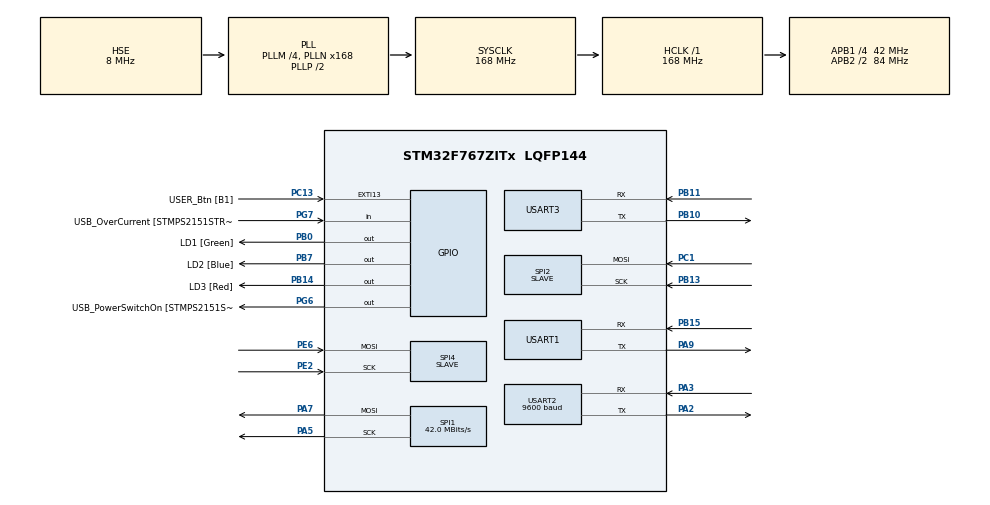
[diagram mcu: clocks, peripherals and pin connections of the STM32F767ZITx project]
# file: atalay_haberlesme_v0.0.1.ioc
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Mcu.Family=STM32F7
RCC.CortexFreq_Value=168000000
SPI4.VirtualType=VM_SLAVE
PG6.Signal=GPIO_Output
SPI1.VirtualType=VM_MASTER
SPI2.VirtualType=VM_SLAVE
PB10.Mode=Asynchronous
PB14.GPIO_Label=LD3 [Red]
PG6.GPIO_Label=USB_PowerSwitchOn [STMPS2151STR_EN]
PA14.GPIO_Label=TCK
RCC.SYSCLKSourceVirtual=RCC_SYSCLKSOURCE_PLLCLK
SPI4.Direction=SPI_DIRECTION_2LINES_RXONLY
Dma.SPI4_RX.3.PeriphDataAlignment=DMA_PDATAALIGN_BYTE
PC14/OSC32_IN.Mode=LSE-External-Oscillator
PB0.GPIO_Label=LD1 [Green]
PC13.GPIO_Label=USER_Btn [B1]
PB11.Signal=USART3_RX
PB13.Signal=SPI2_SCK
PB15.Signal=USART1_RX
Dma.USART2_RX.1.MemDataAlignment=DMA_MDATAALIGN_BYTE
RCC.SYSCLKSource=RCC_SYSCLKSOURCE_PLLCLK
ProjectManager.StackSize=0x400
USART3.VirtualMode-Asynchronous=VM_ASYNC
NVIC.SPI4_IRQn=true\:0\:0\:false\:false\:true\:true\:true
SPI4.Mode=SPI_MODE_SLAVE
Dma.SPI2_RX.2.Direction=DMA_PERIPH_TO_MEMORY
SPI1.Direction=SPI_DIRECTION_2LINES
PH0/OSC_IN.Mode=HSE-External-Clock-Source
RCC.HCLKFreq_Value=168000000
PE2.Mode=RX_Only_Simplex_Unidirect_Slave
RCC.APB2TimFreq_Value=168000000
PH1/OSC_OUT.Signal=RCC_OSC_OUT
Dma.USART2_RX.1.PeriphInc=DMA_PINC_DISABLE
SPI1.CalculateBaudRate=42.0 MBits/s
NVIC.DMA2_Stream0_IRQn=true\:0\:0\:false\:false\:true\:false\:true
Dma.USART2_RX.1.MemInc=DMA_MINC_ENABLE
RCC.AHBFreq_Value=168000000
Dma.USART1_RX.0.Priority=DMA_PRIORITY_LOW
Dma.SPI2_RX.2.Instance=DMA1_Stream1
Dma.SPI2_RX.2.MemDataAlignment=DMA_MDATAALIGN_BYTE
RCC.HSE_VALUE=8000000
USART2.VirtualMode-Asynchronous=VM_ASYNC
Dma.SPI2_RX.2.PeriphInc=DMA_PINC_DISABLE
RCC.PLLMUL=RCC_PLL_MUL9
PA14.Mode=Serial_Wire
PE2.Signal=SPI4_SCK
PB7.Signal=GPIO_Output
Dma.SPI2_RX.2.PeriphDataAlignment=DMA_PDATAALIGN_BYTE
NVIC.SPI2_IRQn=true\:0\:0\:false\:false\:true\:true\:true
Dma.USART1_RX.0.MemInc=DMA_MINC_ENABLE
PH1/OSC_OUT.Mode=HSE-External-Clock-Source
PB7.GPIO_Label=LD2 [Blue]
Mcu.Package=LQFP144
SPI2.Mode=SPI_MODE_SLAVE
Dma.SPI2_RX.2.Priority=DMA_PRIORITY_LOW
PC14/OSC32_IN.Signal=RCC_OSC32_IN
Dma.SPI2_RX.2.MemInc=DMA_MINC_ENABLE
Dma.SPI4_RX.3.Direction=DMA_PERIPH_TO_MEMORY
Dma.USART1_RX.0.FIFOMode=DMA_FIFOMODE_DISABLE
RCC.APB2CLKDivider=RCC_HCLK_DIV2
NVIC.DMA2_Stream2_IRQn=true\:0\:0\:false\:false\:true\:false\:true
Dma.Request2=SPI2_RX
Dma.Request1=USART2_RX
RCC.APB1TimFreq_Value=84000000
Dma.Request3=SPI4_RX
Dma.USART1_RX.0.Mode=DMA_CIRCULAR
SPI2.Direction=SPI_DIRECTION_2LINES_RXONLY
PB13.Mode=RX_Only_Simplex_Unidirect_Slave
NVIC.USART1_IRQn=true\:0\:0\:false\:false\:true\:true\:true
Dma.USART2_RX.1.Mode=DMA_NORMAL
Dma.Request0=USART1_RX
Dma.USART1_RX.0.Instance=DMA2_Stream2
PA3.Signal=USART2_RX
PA5.Mode=TX_Only_Simplex_Unidirect_Master
PB3.GPIO_Label=SWO
RCC.PLLSourceVirtual=RCC_PLLSOURCE_HSE
Dma.USART2_RX.1.Priority=DMA_PRIORITY_LOW
Dma.USART2_RX.1.FIFOMode=DMA_FIFOMODE_DISABLE
PA7.Mode=TX_Only_Simplex_Unidirect_Master
PG7.Signal=GPIO_Input
Dma.USART1_RX.0.PeriphDataAlignment=DMA_PDATAALIGN_BYTE
PC13.Signal=GPXTI13
Dma.SPI4_RX.3.Priority=DMA_PRIORITY_LOW
NVIC.DMA1_Stream1_IRQn=true\:0\:0\:false\:false\:true\:false\:true
RCC.APB1CLKDivider=RCC_HCLK_DIV4
Dma.SPI4_RX.3.FIFOMode=DMA_FIFOMODE_DISABLE
NVIC.USART2_IRQn=true\:0\:0\:false\:false\:true\:true\:true
USART2.BaudRate=9600
Dma.SPI2_RX.2.Mode=DMA_NORMAL
USART1.VirtualMode-Asynchronous=VM_ASYNC
PA3.Mode=Asynchronous
PA13.Signal=SYS_JTMS-SWDIO
Dma.SPI4_RX.3.MemInc=DMA_MINC_ENABLE
PA9.Mode=Asynchronous
PB11.Mode=Asynchronous
ProjectManager.TargetToolchain=STM32CubeIDE
Dma.SPI2_RX.2.FIFOMode=DMA_FIFOMODE_DISABLE
NVIC.DMA1_Stream5_IRQn=true\:0\:0\:false\:false\:true\:false\:true
Dma.USART1_RX.0.Direction=DMA_PERIPH_TO_MEMORY
PA9.Signal=USART1_TX
RCC.USBFreq_Value=37333333.333333336
Dma.USART1_RX.0.PeriphInc=DMA_PINC_DISABLE
Dma.USART2_RX.1.Instance=DMA1_Stream5
PB10.Signal=USART3_TX
PB14.Signal=GPIO_Output
Dma.USART2_RX.1.Direction=DMA_PERIPH_TO_MEMORY
PA5.Signal=SPI1_SCK
Dma.USART2_RX.1.PeriphDataAlignment=DMA_PDATAALIGN_BYTE
board=NUCLEO-F767ZI
RCC.VCOOutputFreq_Value=336000000
PB15.Mode=Asynchronous
PH0/OSC_IN.Signal=RCC_OSC_IN
RCC.APB2Freq_Value=84000000
PE6.Mode=RX_Only_Simplex_Unidirect_Slave
RCC.PRESCALERUSB=RCC_USBCLKSOURCE_PLL_DIV1_5
SPI1.Mode=SPI_MODE_MASTER
PG7.GPIO_Label=USB_OverCurrent [STMPS2151STR_FAULT]
Dma.USART1_RX.0.MemDataAlignment=DMA_MDATAALIGN_BYTE
Dma.SPI4_RX.3.Mode=DMA_NORMAL
PE6.Signal=SPI4_MOSI
PA13.Mode=Serial_Wire
Mcu.Name=STM32F767ZITx
PA2.Signal=USART2_TX
PA13.GPIO_Label=TMS
RCC.48MHZClocksFreq_Value=24000000
PB3.Signal=SYS_JTDO-SWO
RCC.SYSCLKFreq_VALUE=168000000
PC15/OSC32_OUT.Mode=LSE-External-Oscillator
PA14.Signal=SYS_JTCK-SWCLK
ProjectManager.HeapSize=0x200
RCC.HSI_VALUE=16000000
Dma.SPI4_RX.3.MemDataAlignment=DMA_MDATAALIGN_BYTE
PH0/OSC_IN.GPIO_Label=MCO [STM32F103CBT6_PA8]
Dma.SPI4_RX.3.Instance=DMA2_Stream0
RCC.PLLQ=9
NVIC.PriorityGroup=NVIC_PRIORITYGROUP_4
RCC.PLLM=4
RCC.PLLN=168
PA2.Mode=Asynchronous
PC15/OSC32_OUT.Signal=RCC_OSC32_OUT
SPI2.DataSize=SPI_DATASIZE_8BIT
RCC.APB1Freq_Value=42000000
PB0.Signal=GPIO_Output
PC1.Signal=SPI2_MOSI
PC1.Mode=RX_Only_Simplex_Unidirect_Slave
Dma.SPI4_RX.3.PeriphInc=DMA_PINC_DISABLE
PA7.Signal=SPI1_MOSI

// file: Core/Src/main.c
/* USER CODE BEGIN Header */
/**
  ******************************************************************************
  * @file           : main.c
  * @brief          : Main program body
  ******************************************************************************
  * @attention
  *
  * <h2><center>&copy; Copyright (c) 2021 STMicroelectronics.
  * All rights reserved.</center></h2>
  *
  * This software component is licensed by ST under BSD 3-Clause license,
  * the "License"; You may not use this file except in compliance with the
  * License. You may obtain a copy of the License at:
  *                        opensource.org/licenses/BSD-3-Clause
  *
  ******************************************************************************
  */
/* USER CODE END Header */
#include "main.h"

/* USER CODE BEGIN Includes */
#include "zoe_m8q.h"
#include "sl869.h"
/* USER CODE END Includes */

/* USER CODE BEGIN PTD */
#define ANA_BufferSize 13
#define YEDEK_BufferSize 4
#define gidenbuffer1size 35
#define gidenbuffer2size 18
uint8_t ANA_Rx_Buffer[ANA_BufferSize] = {0};
uint8_t YEDEK_Rx_Buffer[YEDEK_BufferSize] = {0};
/* USER CODE END PTD */

SPI_HandleTypeDef hspi1;
SPI_HandleTypeDef hspi2;
SPI_HandleTypeDef hspi4;
DMA_HandleTypeDef hdma_spi2_rx;
DMA_HandleTypeDef hdma_spi4_rx;

UART_HandleTypeDef huart1;
UART_HandleTypeDef huart2;
UART_HandleTypeDef huart3;
DMA_HandleTypeDef hdma_usart1_rx;
DMA_HandleTypeDef hdma_usart2_rx;

void SystemClock_Config(void);
static void MX_GPIO_Init(void);
static void MX_DMA_Init(void);
static void MX_USART1_UART_Init(void);
static void MX_USART2_UART_Init(void);
static void MX_USART3_UART_Init(void);
static void MX_SPI2_Init(void);
static void MX_SPI1_Init(void);
static void MX_SPI4_Init(void);

/* USER CODE BEGIN 0 */

extern GPS_t GPS;
zoe_m8q zoe;
uint8_t receive_buffer[4];
uint8_t giden_buffer1[gidenbuffer1size];
uint8_t gidenbuffer2[gidenbuffer2size];
/* USER CODE END 0 */

int main(void)
{

  /* MCU Configuration--------------------------------------------------------*/

  /* Reset of all peripherals, Initializes the Flash interface and the Systick. */
  HAL_Init();

  /* Configure the system clock */
  SystemClock_Config();

  /* Initialize all configured peripherals */
  MX_GPIO_Init();
  MX_DMA_Init();
  MX_USART1_UART_Init();
  MX_USART2_UART_Init();
  MX_USART3_UART_Init();
  MX_SPI2_Init();
  MX_SPI1_Init();
  MX_SPI4_Init();
  /* USER CODE BEGIN 2 */
  HAL_SPI_Receive_DMA(&hspi2, ANA_Rx_Buffer, ANA_BufferSize);
  HAL_SPI_Receive_DMA(&hspi4, YEDEK_Rx_Buffer, YEDEK_BufferSize);
  //POLL_WDMA_ZOE();
  //POLL_SL869();
  POLL_WDMA_ZOE();
  /* USER CODE END 2 */

  /* Infinite loop */
  /* USER CODE BEGIN WHILE */
  while (1)
  {

	  HAL_Delay(500);

	  	  ZOE();

//			if(zoe.rx_zoe_data[0] == 181 &&
//				zoe.rx_zoe_data[1] == 98 &&
//				zoe.rx_zoe_data[2] == 1 &&
//				zoe.rx_zoe_data[3] == 2)
//		{
	  	giden_buffer1[0]= zoe.rx_zoe_data[10];
	  	giden_buffer1[1]= zoe.rx_zoe_data[11];
	  	giden_buffer1[2]= zoe.rx_zoe_data[12];
	  	giden_buffer1[3]= zoe.rx_zoe_data[13];
	  	giden_buffer1[4]= zoe.rx_zoe_data[14];
	  	giden_buffer1[5]= zoe.rx_zoe_data[15];
	  	giden_buffer1[6]= zoe.rx_zoe_data[16];
	  	giden_buffer1[7]= zoe.rx_zoe_data[17];
	  	giden_buffer1[8]= zoe.rx_zoe_data[22];
	  	giden_buffer1[9]= zoe.rx_zoe_data[23];
	  	giden_buffer1[10]= zoe.rx_zoe_data[24];
	  	giden_buffer1[11]= zoe.rx_zoe_data[25];
	  	giden_buffer1[12]= zoe.rx_zoe_data[18+36];
        giden_buffer1[13]= zoe.rx_zoe_data[19+36];
        giden_buffer1[14]= zoe.rx_zoe_data[20+36];
        giden_buffer1[15]= zoe.rx_zoe_data[21+36];
        giden_buffer1[16]=  0x78;

        giden_buffer1[17]= 	   ANA_Rx_Buffer[0]   ;
        giden_buffer1[18]=	   ANA_Rx_Buffer[1]   ;
        giden_buffer1[19]= 	   ANA_Rx_Buffer[2]   ;
        giden_buffer1[20]=     ANA_Rx_Buffer[3]   ;
        giden_buffer1[21]=     ANA_Rx_Buffer[4]   ;
        giden_buffer1[22]=     ANA_Rx_Buffer[5]   ;
        giden_buffer1[23]=     ANA_Rx_Buffer[6]   ;
        giden_buffer1[24]=     ANA_Rx_Buffer[7]   ;
        giden_buffer1[25]=     ANA_Rx_Buffer[8]   ;
        giden_buffer1[26]=     ANA_Rx_Buffer[9]   ;
        giden_buffer1[27]=     ANA_Rx_Buffer[10]  ;
        giden_buffer1[28]=     ANA_Rx_Buffer[11]  ;
        giden_buffer1[29]=     ANA_Rx_Buffer[12]  ;
        giden_buffer1[30]=     YEDEK_Rx_Buffer[0] ;
        giden_buffer1[31]=     YEDEK_Rx_Buffer[1] ;
        giden_buffer1[32]=     YEDEK_Rx_Buffer[2] ;
        giden_buffer1[33]=     YEDEK_Rx_Buffer[3] ;
        giden_buffer1[34]= 0x78;
//		}

			HAL_UART_Transmit(&huart3, giden_buffer1, 35, 1000);
			//HAL_UART_Transmit(&huart3, gidenbuffer2, 18, 1000);

	  	  if(zoe.rx_zoe_data[0]==0x00)
	  	  {
	  		  NVIC_SystemReset();
	  	  }
    /* USER CODE END WHILE */

  }
}

void HAL_SPI_RxCpltCallback(SPI_HandleTypeDef * hspi)
{
	  HAL_SPI_Receive_DMA(&hspi2, ANA_Rx_Buffer, ANA_BufferSize);
	  HAL_SPI_Receive_DMA(&hspi4, YEDEK_Rx_Buffer, YEDEK_BufferSize);
}

void SystemClock_Config(void)
{
  RCC_OscInitTypeDef RCC_OscInitStruct = {0};
  RCC_ClkInitTypeDef RCC_ClkInitStruct = {0};
  RCC_PeriphCLKInitTypeDef PeriphClkInitStruct = {0};

  /** Configure LSE Drive Capability
  */
  HAL_PWR_EnableBkUpAccess();
  /** Configure the main internal regulator output voltage
  */
  __HAL_RCC_PWR_CLK_ENABLE();
  __HAL_PWR_VOLTAGESCALING_CONFIG(PWR_REGULATOR_VOLTAGE_SCALE2);
  /** Initializes the RCC Oscillators according to the specified parameters
  * in the RCC_OscInitTypeDef structure.
  */
  RCC_OscInitStruct.OscillatorType = RCC_OSCILLATORTYPE_HSE;
  RCC_OscInitStruct.HSEState = RCC_HSE_BYPASS;
  RCC_OscInitStruct.PLL.PLLState = RCC_PLL_ON;
  RCC_OscInitStruct.PLL.PLLSource = RCC_PLLSOURCE_HSE;
  RCC_OscInitStruct.PLL.PLLM = 4;
  RCC_OscInitStruct.PLL.PLLN = 168;
  RCC_OscInitStruct.PLL.PLLP = RCC_PLLP_DIV2;
  RCC_OscInitStruct.PLL.PLLQ = 9;
  if (HAL_RCC_OscConfig(&RCC_OscInitStruct) != HAL_OK)
  {
    Error_Handler();
  }
  /** Initializes the CPU, AHB and APB buses clocks
  */
  RCC_ClkInitStruct.ClockType = RCC_CLOCKTYPE_HCLK|RCC_CLOCKTYPE_SYSCLK
                              |RCC_CLOCKTYPE_PCLK1|RCC_CLOCKTYPE_PCLK2;
  RCC_ClkInitStruct.SYSCLKSource = RCC_SYSCLKSOURCE_PLLCLK;
  RCC_ClkInitStruct.AHBCLKDivider = RCC_SYSCLK_DIV1;
  RCC_ClkInitStruct.APB1CLKDivider = RCC_HCLK_DIV4;
  RCC_ClkInitStruct.APB2CLKDivider = RCC_HCLK_DIV2;

  if (HAL_RCC_ClockConfig(&RCC_ClkInitStruct, FLASH_LATENCY_5) != HAL_OK)
  {
    Error_Handler();
  }
  PeriphClkInitStruct.PeriphClockSelection = RCC_PERIPHCLK_USART1|RCC_PERIPHCLK_USART2
                              |RCC_PERIPHCLK_USART3;
  PeriphClkInitStruct.Usart1ClockSelection = RCC_USART1CLKSOURCE_PCLK2;
  PeriphClkInitStruct.Usart2ClockSelection = RCC_USART2CLKSOURCE_PCLK1;
  PeriphClkInitStruct.Usart3ClockSelection = RCC_USART3CLKSOURCE_PCLK1;
  if (HAL_RCCEx_PeriphCLKConfig(&PeriphClkInitStruct) != HAL_OK)
  {
    Error_Handler();
  }
}

static void MX_SPI1_Init(void)
{

  /* SPI1 parameter configuration*/
  hspi1.Instance = SPI1;
  hspi1.Init.Mode = SPI_MODE_MASTER;
  hspi1.Init.Direction = SPI_DIRECTION_2LINES;
  hspi1.Init.DataSize = SPI_DATASIZE_4BIT;
  hspi1.Init.CLKPolarity = SPI_POLARITY_LOW;
  hspi1.Init.CLKPhase = SPI_PHASE_1EDGE;
  hspi1.Init.NSS = SPI_NSS_SOFT;
  hspi1.Init.BaudRatePrescaler = SPI_BAUDRATEPRESCALER_2;
  hspi1.Init.FirstBit = SPI_FIRSTBIT_MSB;
  hspi1.Init.TIMode = SPI_TIMODE_DISABLE;
  hspi1.Init.CRCCalculation = SPI_CRCCALCULATION_DISABLE;
  hspi1.Init.CRCPolynomial = 7;
  hspi1.Init.CRCLength = SPI_CRC_LENGTH_DATASIZE;
  hspi1.Init.NSSPMode = SPI_NSS_PULSE_ENABLE;
  if (HAL_SPI_Init(&hspi1) != HAL_OK)
  {
    Error_Handler();
  }

}

static void MX_SPI2_Init(void)
{

  /* SPI2 parameter configuration*/
  hspi2.Instance = SPI2;
  hspi2.Init.Mode = SPI_MODE_SLAVE;
  hspi2.Init.Direction = SPI_DIRECTION_2LINES_RXONLY;
  hspi2.Init.DataSize = SPI_DATASIZE_8BIT;
  hspi2.Init.CLKPolarity = SPI_POLARITY_LOW;
  hspi2.Init.CLKPhase = SPI_PHASE_1EDGE;
  hspi2.Init.NSS = SPI_NSS_SOFT;
  hspi2.Init.FirstBit = SPI_FIRSTBIT_MSB;
  hspi2.Init.TIMode = SPI_TIMODE_DISABLE;
  hspi2.Init.CRCCalculation = SPI_CRCCALCULATION_DISABLE;
  hspi2.Init.CRCPolynomial = 7;
  hspi2.Init.CRCLength = SPI_CRC_LENGTH_DATASIZE;
  hspi2.Init.NSSPMode = SPI_NSS_PULSE_DISABLE;
  if (HAL_SPI_Init(&hspi2) != HAL_OK)
  {
    Error_Handler();
  }

}

static void MX_SPI4_Init(void)
{

  /* SPI4 parameter configuration*/
  hspi4.Instance = SPI4;
  hspi4.Init.Mode = SPI_MODE_SLAVE;
  hspi4.Init.Direction = SPI_DIRECTION_2LINES_RXONLY;
  hspi4.Init.DataSize = SPI_DATASIZE_4BIT;
  hspi4.Init.CLKPolarity = SPI_POLARITY_LOW;
  hspi4.Init.CLKPhase = SPI_PHASE_1EDGE;
  hspi4.Init.NSS = SPI_NSS_SOFT;
  hspi4.Init.FirstBit = SPI_FIRSTBIT_MSB;
  hspi4.Init.TIMode = SPI_TIMODE_DISABLE;
  hspi4.Init.CRCCalculation = SPI_CRCCALCULATION_DISABLE;
  hspi4.Init.CRCPolynomial = 7;
  hspi4.Init.CRCLength = SPI_CRC_LENGTH_DATASIZE;
  hspi4.Init.NSSPMode = SPI_NSS_PULSE_DISABLE;
  if (HAL_SPI_Init(&hspi4) != HAL_OK)
  {
    Error_Handler();
  }

}

static void MX_USART1_UART_Init(void)
{

  huart1.Instance = USART1;
  huart1.Init.BaudRate = 115200;
  huart1.Init.WordLength = UART_WORDLENGTH_8B;
  huart1.Init.StopBits = UART_STOPBITS_1;
  huart1.Init.Parity = UART_PARITY_NONE;
  huart1.Init.Mode = UART_MODE_TX_RX;
  huart1.Init.HwFlowCtl = UART_HWCONTROL_NONE;
  huart1.Init.OverSampling = UART_OVERSAMPLING_16;
  huart1.Init.OneBitSampling = UART_ONE_BIT_SAMPLE_DISABLE;
  huart1.AdvancedInit.AdvFeatureInit = UART_ADVFEATURE_NO_INIT;
  if (HAL_UART_Init(&huart1) != HAL_OK)
  {
    Error_Handler();
  }

}

static void MX_USART2_UART_Init(void)
{

  huart2.Instance = USART2;
  huart2.Init.BaudRate = 9600;
  huart2.Init.WordLength = UART_WORDLENGTH_8B;
  huart2.Init.StopBits = UART_STOPBITS_1;
  huart2.Init.Parity = UART_PARITY_NONE;
  huart2.Init.Mode = UART_MODE_TX_RX;
  huart2.Init.HwFlowCtl = UART_HWCONTROL_NONE;
  huart2.Init.OverSampling = UART_OVERSAMPLING_16;
  huart2.Init.OneBitSampling = UART_ONE_BIT_SAMPLE_DISABLE;
  huart2.AdvancedInit.AdvFeatureInit = UART_ADVFEATURE_NO_INIT;
  if (HAL_UART_Init(&huart2) != HAL_OK)
  {
    Error_Handler();
  }

}

static void MX_USART3_UART_Init(void)
{

  huart3.Instance = USART3;
  huart3.Init.BaudRate = 115200;
  huart3.Init.WordLength = UART_WORDLENGTH_8B;
  huart3.Init.StopBits = UART_STOPBITS_1;
  huart3.Init.Parity = UART_PARITY_NONE;
  huart3.Init.Mode = UART_MODE_TX_RX;
  huart3.Init.HwFlowCtl = UART_HWCONTROL_NONE;
  huart3.Init.OverSampling = UART_OVERSAMPLING_16;
  huart3.Init.OneBitSampling = UART_ONE_BIT_SAMPLE_DISABLE;
  huart3.AdvancedInit.AdvFeatureInit = UART_ADVFEATURE_NO_INIT;
  if (HAL_UART_Init(&huart3) != HAL_OK)
  {
    Error_Handler();
  }

}

static void MX_DMA_Init(void)
{

  /* DMA controller clock enable */
  __HAL_RCC_DMA2_CLK_ENABLE();
  __HAL_RCC_DMA1_CLK_ENABLE();

  /* DMA interrupt init */
  /* DMA1_Stream1_IRQn interrupt configuration */
  HAL_NVIC_SetPriority(DMA1_Stream1_IRQn, 0, 0);
  HAL_NVIC_EnableIRQ(DMA1_Stream1_IRQn);
  /* DMA1_Stream5_IRQn interrupt configuration */
  HAL_NVIC_SetPriority(DMA1_Stream5_IRQn, 0, 0);
  HAL_NVIC_EnableIRQ(DMA1_Stream5_IRQn);
  /* DMA2_Stream0_IRQn interrupt configuration */
  HAL_NVIC_SetPriority(DMA2_Stream0_IRQn, 0, 0);
  HAL_NVIC_EnableIRQ(DMA2_Stream0_IRQn);
  /* DMA2_Stream2_IRQn interrupt configuration */
  HAL_NVIC_SetPriority(DMA2_Stream2_IRQn, 0, 0);
  HAL_NVIC_EnableIRQ(DMA2_Stream2_IRQn);

}

static void MX_GPIO_Init(void)
{
  GPIO_InitTypeDef GPIO_InitStruct = {0};

  /* GPIO Ports Clock Enable */
  __HAL_RCC_GPIOE_CLK_ENABLE();
  __HAL_RCC_GPIOC_CLK_ENABLE();
  __HAL_RCC_GPIOH_CLK_ENABLE();
  __HAL_RCC_GPIOA_CLK_ENABLE();
  __HAL_RCC_GPIOB_CLK_ENABLE();
  __HAL_RCC_GPIOG_CLK_ENABLE();

  /*Configure GPIO pin Output Level */
  HAL_GPIO_WritePin(GPIOB, LD1_Pin|LD3_Pin|LD2_Pin, GPIO_PIN_RESET);

  /*Configure GPIO pin Output Level */
  HAL_GPIO_WritePin(USB_PowerSwitchOn_GPIO_Port, USB_PowerSwitchOn_Pin, GPIO_PIN_RESET);

  /*Configure GPIO pin : USER_Btn_Pin */
  GPIO_InitStruct.Pin = USER_Btn_Pin;
  GPIO_InitStruct.Mode = GPIO_MODE_IT_RISING;
  GPIO_InitStruct.Pull = GPIO_NOPULL;
  HAL_GPIO_Init(USER_Btn_GPIO_Port, &GPIO_InitStruct);

  /*Configure GPIO pins : LD1_Pin LD3_Pin LD2_Pin */
  GPIO_InitStruct.Pin = LD1_Pin|LD3_Pin|LD2_Pin;
  GPIO_InitStruct.Mode = GPIO_MODE_OUTPUT_PP;
  GPIO_InitStruct.Pull = GPIO_NOPULL;
  GPIO_InitStruct.Speed = GPIO_SPEED_FREQ_LOW;
  HAL_GPIO_Init(GPIOB, &GPIO_InitStruct);

  /*Configure GPIO pin : USB_PowerSwitchOn_Pin */
  GPIO_InitStruct.Pin = USB_PowerSwitchOn_Pin;
  GPIO_InitStruct.Mode = GPIO_MODE_OUTPUT_PP;
  GPIO_InitStruct.Pull = GPIO_NOPULL;
  GPIO_InitStruct.Speed = GPIO_SPEED_FREQ_LOW;
  HAL_GPIO_Init(USB_PowerSwitchOn_GPIO_Port, &GPIO_InitStruct);

  /*Configure GPIO pin : USB_OverCurrent_Pin */
  GPIO_InitStruct.Pin = USB_OverCurrent_Pin;
  GPIO_InitStruct.Mode = GPIO_MODE_INPUT;
  GPIO_InitStruct.Pull = GPIO_NOPULL;
  HAL_GPIO_Init(USB_OverCurrent_GPIO_Port, &GPIO_InitStruct);

}

void Error_Handler(void)
{
  __disable_irq();
  while (1)
  {
  }
}

/************************ (C) COPYRIGHT STMicroelectronics *****END OF FILE****/
